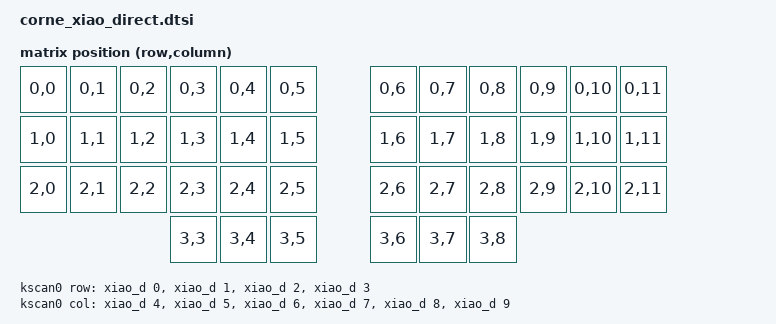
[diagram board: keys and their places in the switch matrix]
/*
 * Copyright (c) 2020 The ZMK Contributors
 *
 * SPDX-License-Identifier: MIT
 */

#include <dt-bindings/zmk/matrix_transform.h>

/ {
    chosen {
        zmk,kscan = &kscan0;
        zmk,matrix_transform = &default_transform;
    };

    default_transform: keymap_transform_0 {
        compatible = "zmk,matrix-transform";
        columns = <12>;
        rows = <4>;
        map = <
RC(0,0) RC(0,1) RC(0,2) RC(0,3) RC(0,4) RC(0,5)  RC(0,6) RC(0,7) RC(0,8) RC(0,9) RC(0,10) RC(0,11)
RC(1,0) RC(1,1) RC(1,2) RC(1,3) RC(1,4) RC(1,5)  RC(1,6) RC(1,7) RC(1,8) RC(1,9) RC(1,10) RC(1,11)
RC(2,0) RC(2,1) RC(2,2) RC(2,3) RC(2,4) RC(2,5)  RC(2,6) RC(2,7) RC(2,8) RC(2,9) RC(2,10) RC(2,11)
                        RC(3,3) RC(3,4) RC(3,5)  RC(3,6) RC(3,7) RC(3,8)
        >;
    };

    kscan0: kscan_0 {
        compatible = "zmk,kscan-gpio-matrix";
        label = "KSCAN";
        diode-direction = "col2row";

        /* 
         * Pinout Assumption:
         * Rows: D0, D1, D2, D3
         * Cols: D4, D5, D6, D7, D8, D9
         * 
         * Xiao nRF52840 Pin Mapping:
         * D0 = 0 (P0.02)
         * D1 = 1 (P0.03)
         * D2 = 2 (P0.28)
         * D3 = 3 (P0.29)
         * D4 = 4 (P0.04)
         * D5 = 5 (P0.05)
         * D6 = 6 (P1.11)
         * D7 = 7 (P1.12)
         * D8 = 8 (P1.13)
         * D9 = 9 (P1.14)
         */
        row-gpios
            = <&xiao_d 0 (GPIO_ACTIVE_HIGH | GPIO_PULL_DOWN)>
            , <&xiao_d 1 (GPIO_ACTIVE_HIGH | GPIO_PULL_DOWN)>
            , <&xiao_d 2 (GPIO_ACTIVE_HIGH | GPIO_PULL_DOWN)>
            , <&xiao_d 3 (GPIO_ACTIVE_HIGH | GPIO_PULL_DOWN)>
            ;
        
        col-gpios
            = <&xiao_d 4 GPIO_ACTIVE_HIGH>
            , <&xiao_d 5 GPIO_ACTIVE_HIGH>
            , <&xiao_d 6 GPIO_ACTIVE_HIGH>
            , <&xiao_d 7 GPIO_ACTIVE_HIGH>
            , <&xiao_d 8 GPIO_ACTIVE_HIGH>
            , <&xiao_d 9 GPIO_ACTIVE_HIGH>
            ;
    };
};
